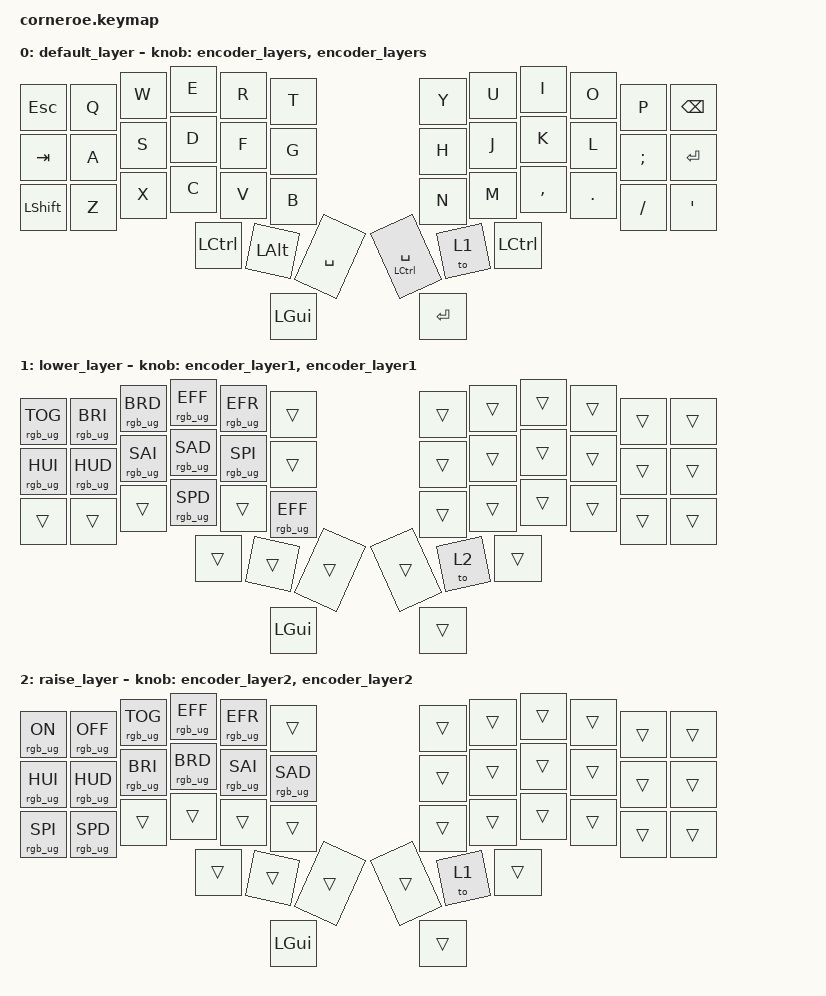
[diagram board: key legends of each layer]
/*
 * Copyright (c) 2020 The ZMK Contributors
 *
 * SPDX-License-Identifier: MIT
 */

#include <dt-bindings/zmk/mouse.h>
#include <behaviors.dtsi>
#include <dt-bindings/zmk/bt.h>
#include <dt-bindings/zmk/ext_power.h>
#include <dt-bindings/zmk/keys.h>
#include <dt-bindings/zmk/pointing.h>
#include <dt-bindings/zmk/rgb.h>

/ {
    behaviors {

        /*
         * Encoder rotation on the default layer:
         *   CW  -> Layer 1
         *   CCW -> Layer 2
         */
        encoder_layers: encoder_layers {
            compatible = "zmk,behavior-sensor-rotate";
            #sensor-binding-cells = <0>;
            bindings = <&to 1>, <&to 2>;
        };

        /*
         * Encoder rotation on Layer 1:
         *   CW  -> Layer 0
         *   CCW -> Layer 2
         */
        encoder_layer1: encoder_layer1 {
            compatible = "zmk,behavior-sensor-rotate";
            #sensor-binding-cells = <0>;
            bindings = <&to 0>, <&to 2>;
        };

        /*
         * Encoder rotation on Layer 2:
         *   CW  -> Layer 1
         *   CCW -> Layer 0
         */
        encoder_layer2: encoder_layer2 {
            compatible = "zmk,behavior-sensor-rotate";
            #sensor-binding-cells = <0>;
            bindings = <&to 1>, <&to 0>;
        };
    };

    keymap {
        compatible = "zmk,keymap";

        /* =====================================================================
         * LAYER 0 - NORMAL / GAMING
         *
         * Left half:
         *
         * ESC   Q   W   E   R   T
         * TAB   A   S   D   F   G
         * SHIFT Z   X   C   V   B
         *
         * Thumb:
         * CTRL  ALT  SPACE
         *
         * Encoder:
         *   CW  -> Layer 1
         *   CCW -> Layer 2
         *   Press -> Windows
         * =================================================================== */

        default_layer {
            bindings = <
                &kp ESCAPE     &kp Q        &kp W        &kp E        &kp R        &kp T
                &kp Y         &kp U        &kp I        &kp O        &kp P        &kp BSPC
                &kp TAB       &kp A        &kp S        &kp D        &kp F        &kp G
                &kp H         &kp J        &kp K        &kp L        &kp SEMI     &kp RET
                &kp LSHFT     &kp Z        &kp X        &kp C        &kp V        &kp B
                &kp N         &kp M        &kp COMMA    &kp DOT      &kp FSLH     &kp SQT

                /* Left thumbs */
                &kp LEFT_CONTROL
                &kp LEFT_ALT
                &kp SPACE

                /* Right thumb / encoder positions */
                &mt LEFT_CONTROL SPACE
                &to 1
                &kp LEFT_CONTROL

                /* Encoder presses */
                &kp LGUI
                &kp RET
            >;

            sensor-bindings = <
                &encoder_layers
                &encoder_layers
            >;
        };


        /* =====================================================================
         * LAYER 1 - RGB / UNDERGLOW
         *
         * Encoder CW from Layer 0 enters this layer.
         *
         * Useful RGB controls on the LEFT HALF:
         *   Q = Toggle
         *   W = Brightness +
         *   E = Brightness -
         *   R = Effect +
         *   T = Effect -
         *   A = Hue +
         *   S = Hue -
         *   D = Saturation +
         *   F = Saturation -
         *   G = Effect speed +
         *   B = Effect speed -
         *
         * All other keys are transparent.
         * =================================================================== */

        lower_layer {
            bindings = <
                &rgb_ug RGB_TOG
                &rgb_ug RGB_BRI
                &rgb_ug RGB_BRD
                &rgb_ug RGB_EFF
                &rgb_ug RGB_EFR
                &trans

                &trans
                &trans
                &trans
                &trans
                &trans
                &trans

                &rgb_ug RGB_HUI
                &rgb_ug RGB_HUD
                &rgb_ug RGB_SAI
                &rgb_ug RGB_SAD
                &rgb_ug RGB_SPI
                &trans

                &trans
                &trans
                &trans
                &trans
                &trans
                &trans

                &trans
                &trans
                &trans
                &rgb_ug RGB_SPD
                &trans
                &rgb_ug RGB_EFF

                &trans
                &trans
                &trans
                &trans
                &trans
                &trans

                /* Thumb positions */
                &trans
                &trans
                &trans

                /* Right thumb / encoder positions */
                &trans
                &to 2
                &trans

                /* Encoder presses */
                &kp LGUI
                &trans
            >;

            sensor-bindings = <
                &encoder_layer1
                &encoder_layer1
            >;
        };


        /* =====================================================================
         * LAYER 2 - RGB / UNDERGLOW
         *
         * Encoder CCW from Layer 0 enters this layer.
         *
         * Additional RGB controls, while preserving normal behavior through
         * transparent bindings.
         * =================================================================== */

        raise_layer {
            bindings = <
                &rgb_ug RGB_ON
                &rgb_ug RGB_OFF
                &rgb_ug RGB_TOG
                &rgb_ug RGB_EFF
                &rgb_ug RGB_EFR
                &trans

                &trans
                &trans
                &trans
                &trans
                &trans
                &trans

                &rgb_ug RGB_HUI
                &rgb_ug RGB_HUD
                &rgb_ug RGB_BRI
                &rgb_ug RGB_BRD
                &rgb_ug RGB_SAI
                &rgb_ug RGB_SAD

                &trans
                &trans
                &trans
                &trans
                &trans
                &trans

                &rgb_ug RGB_SPI
                &rgb_ug RGB_SPD
                &trans
                &trans
                &trans
                &trans

                &trans
                &trans
                &trans
                &trans
                &trans
                &trans

                /* Thumb positions */
                &trans
                &trans
                &trans

                /* Right thumb / encoder positions */
                &trans
                &to 1
                &trans

                /* Encoder presses */
                &kp LGUI
                &trans
            >;

            sensor-bindings = <
                &encoder_layer2
                &encoder_layer2
            >;
        };
    };
};
